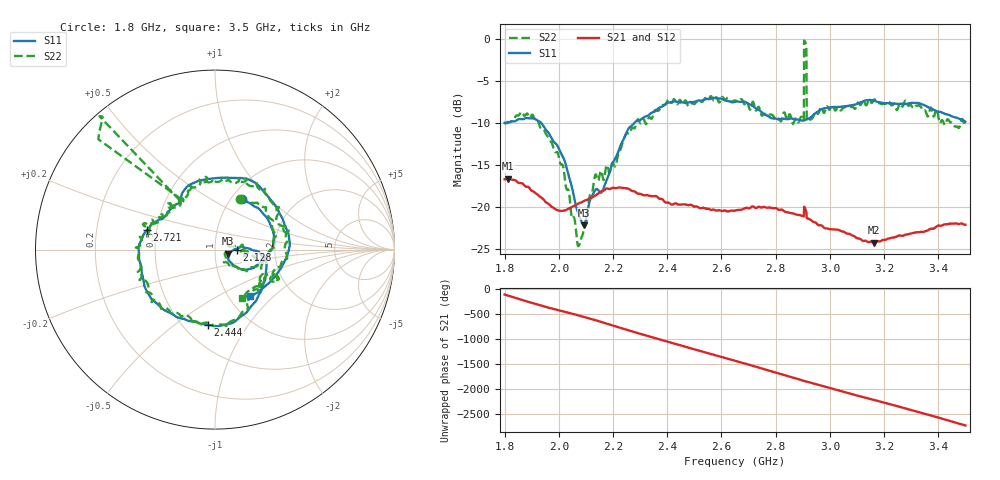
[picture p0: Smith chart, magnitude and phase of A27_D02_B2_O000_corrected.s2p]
! Created with skrf 1.9.0 (http://scikit-rf.org).
# Hz S RI R 50.0
!freq ReS11 ImS11 ReS21 ImS21 ReS12 ImS12 ReS22 ImS22
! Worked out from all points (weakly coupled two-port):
!   1601 points, 1.8 GHz to 3.5 GHz, reference 50 ohm
!   highest |S21| = -16.60 dB at 1.814 GHz (marker M1); lowest = -24.2 dB at 3.163 GHz (marker M2)
!   lowest |S11| = -22.2 dB at 2.091 GHz (marker M3), VSWR 1.17, Z = 58 - j2.69 ohm
!   |S11| at or under -10 dB: 1.936 GHz to 2.277 GHz (341 MHz wide, 16.2 % of centre)
!   |S22| runs from -24.6 to -0.1 dB; largest |S21 - S12| = 0.0025
!   S11 on the Smith chart (normalised r, x): 1.8 GHz: 1.12, +0.70; 2.128 GHz: 1.28, -0.00; 2.444 GHz: 0.66, -0.67; 2.721 GHz: 0.44, +0.11; 3.5 GHz: 1.26, -0.72
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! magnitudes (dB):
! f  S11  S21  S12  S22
! 1.8 GHz  -9.9  -16.7  -16.7  -10.0
! 1.814 GHz  -9.9  -16.6  -16.6  -9.9
! 1.902 GHz  -9.4  -18.1  -18.0  -9.0
! 1.966 GHz  -11.3  -19.7  -19.8  -11.9
! 2.02 GHz  -14.3  -20.4  -20.4  -15.9
! 2.084 GHz  -21.7  -19.4  -19.4  -23.6
! 2.091 GHz  -22.2  -19.3  -19.3  -22.9
! 2.128 GHz  -18.3  -18.7  -18.7  -17.2
! 2.26 GHz  -10.5  -17.8  -17.9  -11.2
! 2.367 GHz  -8.2  -18.9  -18.8  -8.5
! 2.444 GHz  -7.5  -19.7  -19.7  -7.3
! 2.65 GHz  -7.5  -20.4  -20.4  -7.3
! 2.721 GHz  -8.1  -20.0  -19.9  -7.9
! 2.886 GHz  -9.6  -20.9  -20.9  -9.8
! 2.895 GHz  -9.7  -21.0  -21.0  -9.2
! 2.905 GHz  -9.7  -19.9  -19.9  -0.1
! 2.913 GHz  -9.6  -20.6  -20.5  -1.0
! 2.923 GHz  -9.4  -21.4  -21.4  -9.6
! 2.934 GHz  -9.2  -21.6  -21.6  -9.5
! 3.163 GHz  -7.3  -24.2  -24.2  -7.2
! 3.217 GHz  -7.6  -23.7  -23.7  -7.4
! 3.5 GHz  -9.8  -22.1  -22.1  -10.2
